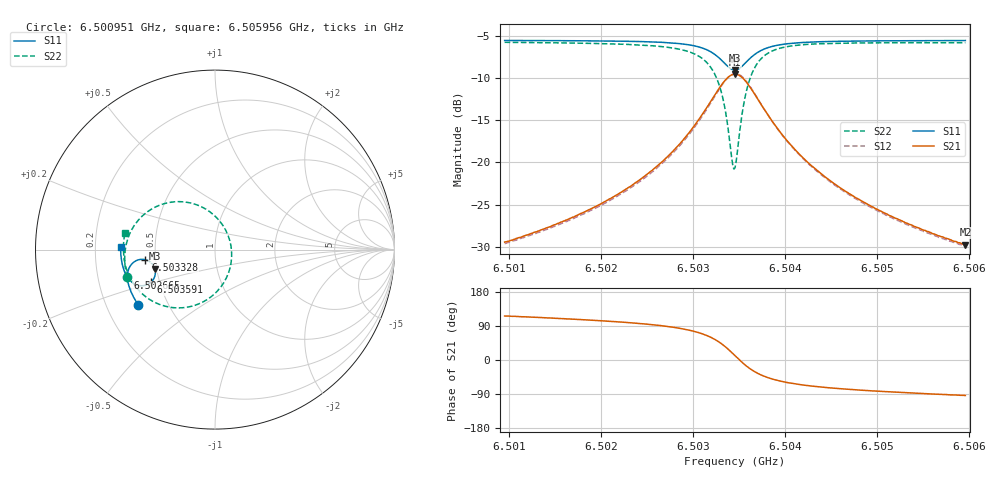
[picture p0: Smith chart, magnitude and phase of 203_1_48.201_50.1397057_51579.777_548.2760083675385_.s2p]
#  HZ  S  RI  R  50.00
! Rohde & Schwarz Vector Network Analyzer
! Rohde-Schwarz,ZNB20-2Port,1311601062101988,3.16
! Created: UTC 3/20/2024, 11:45:06 AM
! freq[Hz]  re:S11  im:S11  re:S21  im:S21  re:S12  im:S12  re:S22  im:S22
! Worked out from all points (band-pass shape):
!   401 points, 6.500951 GHz to 6.505956 GHz, reference 50 ohm
!   highest |S21| = -9.55 dB at 6.503453 GHz (marker M1); lowest = -29.7 dB at 6.505956 GHz (marker M2)
!   |S21| within 3 dB of the highest: 6.503203 GHz to 6.503703 GHz (500.7 kHz wide, 0.0077 % of centre)
!   lowest |S11| = -9.1 dB at 6.503453 GHz (marker M3), VSWR 2.09, Z = 24.4 - j5.92 ohm
!   |S11| at or under -10 dB: nowhere
!   |S22| runs from -20.8 to -5.8 dB; largest |S21 - S12| = 0.012
!   S11 on the Smith chart (normalised r, x): 6.500951 GHz: 0.34, -0.29; 6.502665 GHz: 0.33, -0.14; 6.503328 GHz: 0.44, -0.06; 6.503591 GHz: 0.45, -0.19; 6.505956 GHz: 0.31, +0.01
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6.5009505e9  -0.4263 -0.3091  -0.0149 0.0304  -0.0132 0.0303  -0.4899 -0.154
6.5017889e9  -0.4622 -0.2469  -0.0142 0.0481  -0.0119 0.0476  -0.5031 -0.0648
6.5022019e9  -0.477 -0.2108  -0.0118 0.0649  -0.00887 0.0638  -0.5007 -0.00711
6.5026273e9  -0.4875 -0.1644  -0.00212 0.0973  0.00148 0.0949  -0.48 0.0766
6.5026649e9  -0.4878 -0.1594  -0.000333 0.1013  0.00337 0.0988  -0.4762 0.0862
6.5029402e9  -0.4836 -0.1164  0.0267 0.1441  0.0304 0.1398  -0.4199 0.1722
6.5031279e9  -0.4619 -0.0782  0.0815 0.1866  0.084 0.1802  -0.315 0.2449
6.5032405e9  -0.4289 -0.0576  0.1514 0.2039  0.1522 0.1977  -0.1889 0.2668
6.5033281e9  -0.3881 -0.0561  0.2318 0.1871  0.232 0.1822  -0.0504 0.2251
6.5034157e9  -0.3461 -0.0846  0.3089 0.1138  0.3111 0.1091  0.0722 0.0806
6.5034407e9  -0.3381 -0.0986  0.3219 0.0825  0.325 0.0772  0.0888 0.0217
6.5034532e9  -0.3354 -0.1063  0.3263 0.0658  0.3295 0.0601  0.0924 -0.00926
6.5034782e9  -0.3326 -0.1221  0.3296 0.0319  0.3331 0.0249  0.0899 -0.0714
6.5035408e9  -0.3399 -0.1597  0.3109 -0.0468  0.3129 -0.0568  0.0327 -0.2078
6.5035909e9  -0.3566 -0.1819  0.2767 -0.0926  0.2763 -0.1038  -0.0449 -0.2789
6.5037035e9  -0.4013 -0.2011  0.1915 -0.1372  0.1859 -0.1467  -0.2174 -0.3245
6.5038662e9  -0.4478 -0.1915  0.109 -0.1337  0.102 -0.1387  -0.3658 -0.2768
6.5040414e9  -0.4752 -0.1702  0.0643 -0.1132  0.058 -0.1153  -0.4381 -0.2114
6.5042916e9  -0.496 -0.1403  0.0342 -0.0886  0.0293 -0.0891  -0.4817 -0.1387
6.5046545e9  -0.5113 -0.1022  0.0154 -0.0657  0.0121 -0.0653  -0.5039 -0.0656
6.50513e9  -0.5209 -0.0581  0.00502 -0.0483  0.00276 -0.0477  -0.5104 0.00219
6.5059559e9  -0.526 0.0118  -0.00204 -0.0326  -0.00344 -0.0318  -0.5026 0.0899
